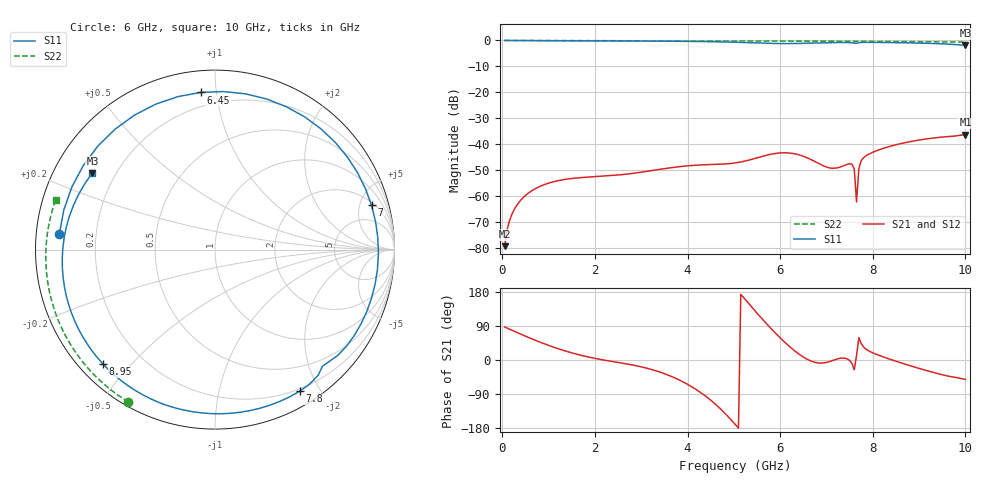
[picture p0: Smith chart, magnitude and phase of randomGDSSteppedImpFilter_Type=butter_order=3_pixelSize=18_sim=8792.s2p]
! freq	dB(S11)	phase(S11)	dB(S12)	phase(S12)
!  dB(S21)	phase(S21)	dB(S22)	phase(S22)
!S-par simulation data
#  GHz  S  DB  R 50
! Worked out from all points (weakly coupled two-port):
!   200 points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, 50 MHz to 10 GHz, reference 50 ohm
!   highest |S21| = -36.23 dB at 10 GHz (marker M1); lowest = -79.2 dB at 50 MHz (marker M2)
!   lowest |S11| = -1.9 dB at 10 GHz (marker M3), VSWR 9.29, Z = 5.82 + j14.2 ohm
!   |S11| at or under -10 dB: nowhere
!   |S22| runs from -0.6 to 0.0 dB; largest |S21 - S12| = 0
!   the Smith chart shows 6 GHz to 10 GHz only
!   S11 on the Smith chart (normalised r, x): 6 GHz: 0.07, +0.05; 6.45 GHz: 0.12, +0.91; 7 GHz: 2.31, +6.39; 7.8 GHz: 0.17, -1.75; 8.95 GHz: 0.07, -0.42; 10 GHz: 0.12, +0.28
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0.05  -0.00 -4.5  -79.16 87.2  -79.16 87.2  -0.00 -1.1
0.2  -0.03 -17.9  -67.21 78.9  -67.21 78.9  -0.01 -4.4
0.5  -0.06 -44.0  -59.66 62.8  -59.66 62.8  -0.01 -10.8
1.1  -0.11 -92.4  -54.39 34.2  -54.39 34.2  -0.03 -23.7
1.75  -0.14 -138.3  -52.70 10.9  -52.70 10.9  -0.05 -37.4
2.55  -0.18 170.4  -51.70 -7.5  -51.70 -7.5  -0.07 -53.9
3.4  -0.26 113.8  -49.60 -31.7  -49.60 -31.7  -0.09 -70.9
4.15  -0.38 53.9  -48.04 -75.1  -48.04 -75.1  -0.12 -85.4
4.65  -0.52 5.0  -47.66 -122.0  -47.66 -122.0  -0.14 -94.8
5.05  -0.69 -41.3  -47.07 -172.7  -47.07 -172.7  -0.16 -102.2
5.5  -0.95 -103.0  -45.17 123.6  -45.17 123.6  -0.18 -110.5
6  -1.19 174.3  -43.28 58.6  -43.28 58.6  -0.21 -119.6
6.45  -1.12 95.1  -44.25 11.8  -44.25 11.8  -0.24 -127.8
6.7  -0.99 55.8  -46.13 -4.2  -46.13 -4.2  -0.26 -132.3
7  -0.85 15.8  -48.71 -6.3  -48.71 -6.3  -0.28 -137.8
7.55  -0.88 -40.7  -47.59 -9.1  -47.59 -9.1  -0.33 -147.9
7.65  -1.08 -47.3  -62.12 12.5  -62.12 12.5  -0.34 -149.7
7.7  -0.86 -50.6  -49.25 59.0  -49.25 59.0  -0.34 -150.7
7.8  -0.73 -59.2  -45.11 34.6  -45.11 34.6  -0.36 -152.6
8.35  -0.80 -97.7  -40.85 2.9  -40.85 2.9  -0.42 -163.0
8.95  -0.99 -134.4  -38.47 -20.4  -38.47 -20.4  -0.49 -174.9
10  -1.88 148.0  -36.23 -51.5  -36.23 -51.5  -0.63 162.7
